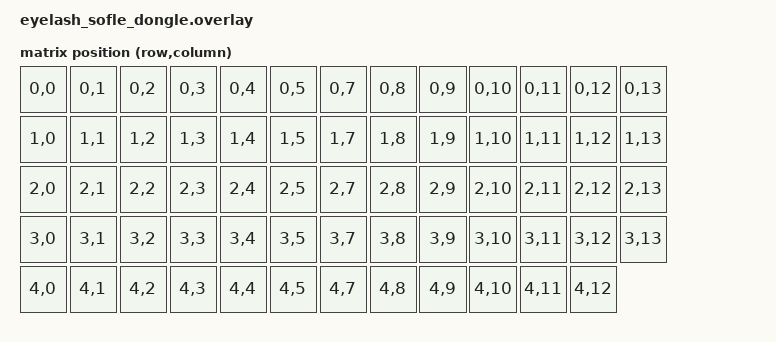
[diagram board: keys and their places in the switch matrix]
#include <dt-bindings/gpio/gpio.h>
#include <dt-bindings/zmk/matrix_transform.h>
#include "eyelash_sofle-layouts.dtsi"

/ {
    chosen {
        zmk,kscan = &mock_kscan;
        zmk,physical-layout = &eyelash_sofle_layout;
    };

    left_encoder: encoder_left {
        compatible = "alps,ec11";
        status = "disabled";
    };

    sensors {
        compatible = "zmk,keymap-sensors";
        triggers-per-rotation = <20>;
        sensors = <&left_encoder>;
    };

    mock_kscan: mock_kscan_0 {
        compatible = "zmk,kscan-mock";
        columns = <0>;
        rows = <0>;
        events = <0>;
    };

    default_transform: keymap_transform_0 {
        compatible = "zmk,matrix-transform";
        columns = <14>;
        rows = <5>;
        map = <
            RC(0,0) RC(0,1) RC(0,2) RC(0,3) RC(0,4) RC(0,5)  RC(0,7) RC(0,8) RC(0,9) RC(0,10) RC(0,11) RC(0,12) RC(0,13)
            RC(1,0) RC(1,1) RC(1,2) RC(1,3) RC(1,4) RC(1,5)  RC(1,7) RC(1,8) RC(1,9) RC(1,10) RC(1,11) RC(1,12) RC(1,13)
            RC(2,0) RC(2,1) RC(2,2) RC(2,3) RC(2,4) RC(2,5)  RC(2,7) RC(2,8) RC(2,9) RC(2,10) RC(2,11) RC(2,12) RC(2,13)
            RC(3,0) RC(3,1) RC(3,2) RC(3,3) RC(3,4) RC(3,5)  RC(3,7) RC(3,8) RC(3,9) RC(3,10) RC(3,11) RC(3,12) RC(3,13)
            RC(4,0) RC(4,1) RC(4,2) RC(4,3) RC(4,4) RC(4,5)  RC(4,7) RC(4,8) RC(4,9) RC(4,10) RC(4,11) RC(4,12)
        >;
    };
};

&pinctrl {
    spi0_default: spi0_default {
        group1 {
            psels = <NRF_PSEL(SPIM_SCK, 0, 20)>,
                <NRF_PSEL(SPIM_MOSI, 0, 17)>,
                <NRF_PSEL(SPIM_MISO, 0, 25)>;
        };
    };

    spi0_sleep: spi0_sleep {
        group1 {
            psels = <NRF_PSEL(SPIM_SCK, 0, 20)>,
                <NRF_PSEL(SPIM_MOSI, 0, 17)>,
                <NRF_PSEL(SPIM_MISO, 0, 25)>;
            low-power-enable;
        };
    };
};

nice_view_spi: &spi0 {
    compatible = "nordic,nrf-spim";
    pinctrl-0 = <&spi0_default>;
    pinctrl-1 = <&spi0_sleep>;
    pinctrl-names = "default", "sleep";
    cs-gpios = <&gpio0 6 GPIO_ACTIVE_HIGH>;
};
